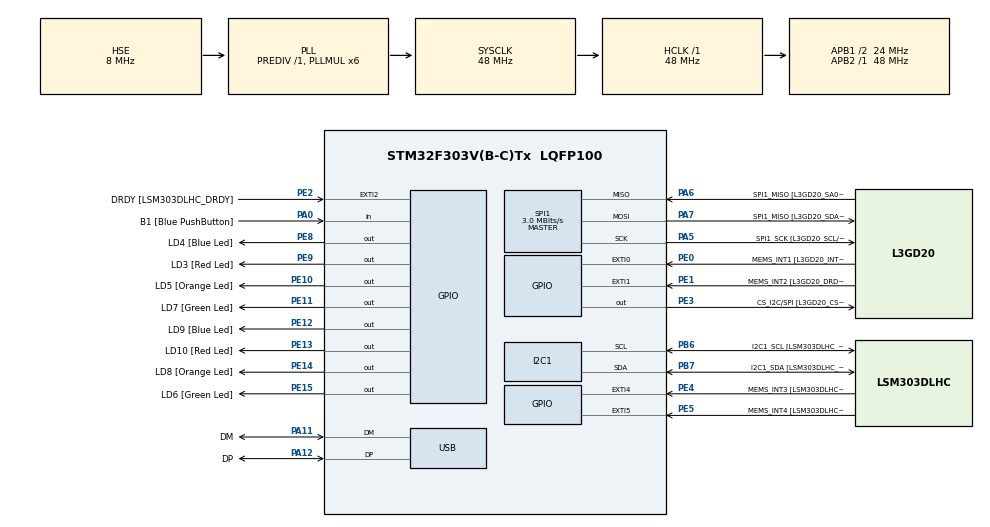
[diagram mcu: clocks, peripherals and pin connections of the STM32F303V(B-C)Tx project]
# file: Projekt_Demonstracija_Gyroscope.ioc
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I2C1.Timing-I2C=0x2000090E
Mcu.Family=STM32F3
Mcu.Name=STM32F303V(B-C)Tx
Mcu.Package=LQFP100
NVIC.PriorityGroup=NVIC_PRIORITYGROUP_0
NVIC.USB_LP_CAN_RX0_IRQn=true\:0\:0\:false\:false\:true\:false\:true
PA0.GPIO_Label=B1 [Blue PushButton]
PA0.Signal=GPIO_Input
PA11.GPIO_Label=DM
PA11.Mode=Device
PA11.Signal=USB_DM
PA12.GPIO_Label=DP
PA12.Mode=Device
PA12.Signal=USB_DP
PA13.GPIO_Label=SWDIO
PA13.Mode=Serial_Wire
PA13.Signal=SYS_JTMS-SWDIO
PA14.GPIO_Label=SWCLK
PA14.Mode=Serial_Wire
PA14.Signal=SYS_JTCK-SWCLK
PA5.GPIO_Label=SPI1_SCK [L3GD20_SCL/SPC]
PA5.Mode=Full_Duplex_Master
PA5.Signal=SPI1_SCK
PA6.GPIO_Label=SPI1_MISO [L3GD20_SA0/SDO]
PA6.Mode=Full_Duplex_Master
PA6.Signal=SPI1_MISO
PA7.GPIO_Label=SPI1_MISO [L3GD20_SDA/SDI/SDO]
PA7.Mode=Full_Duplex_Master
PA7.Signal=SPI1_MOSI
PB3.GPIO_Label=SWO
PB3.Signal=SYS_JTDO-TRACESWO
PB6.GPIO_Label=I2C1_SCL [LSM303DLHC_SCL]
PB6.Mode=I2C
PB6.Signal=I2C1_SCL
PB7.GPIO_Label=I2C1_SDA [LSM303DLHC_SDA]
PB7.Mode=I2C
PB7.Signal=I2C1_SDA
PC14-OSC32_IN.GPIO_Label=OSC32_IN
PC14-OSC32_IN.Signal=RCC_OSC32_IN
PC15-OSC32_OUT.GPIO_Label=OSC32_OUT
PC15-OSC32_OUT.Signal=RCC_OSC32_OUT
PE0.GPIO_Label=MEMS_INT1 [L3GD20_INT1]
PE0.GPIO_ModeDefaultEXTI=GPIO_MODE_EVT_RISING
PE0.Signal=GPXTI0
PE1.GPIO_Label=MEMS_INT2 [L3GD20_DRDY/INT2]
PE1.GPIO_ModeDefaultEXTI=GPIO_MODE_EVT_RISING
PE1.Signal=GPXTI1
PE10.GPIO_Label=LD5 [Orange Led]
PE10.Signal=GPIO_Output
PE11.GPIO_Label=LD7 [Green Led]
PE11.Signal=GPIO_Output
PE12.GPIO_Label=LD9 [Blue Led]
PE12.Signal=GPIO_Output
PE13.GPIO_Label=LD10 [Red Led]
PE13.Signal=GPIO_Output
PE14.GPIO_Label=LD8 [Orange Led]
PE14.Signal=GPIO_Output
PE15.GPIO_Label=LD6 [Green Led]
PE15.Signal=GPIO_Output
PE2.GPIO_Label=DRDY [LSM303DLHC_DRDY]
PE2.GPIO_ModeDefaultEXTI=GPIO_MODE_EVT_RISING
PE2.Signal=GPXTI2
PE3.GPIO_Label=CS_I2C/SPI [L3GD20_CS_I2C/SPI]
PE3.GPIO_Speed=GPIO_SPEED_FREQ_HIGH
PE3.Signal=GPIO_Output
PE4.GPIO_Label=MEMS_INT3 [LSM303DLHC_INT1]
PE4.GPIO_ModeDefaultEXTI=GPIO_MODE_EVT_RISING
PE4.Signal=GPXTI4
PE5.GPIO_Label=MEMS_INT4 [LSM303DLHC_INT2]
PE5.GPIO_ModeDefaultEXTI=GPIO_MODE_EVT_RISING
PE5.Signal=GPXTI5
PE8.GPIO_Label=LD4 [Blue Led]
PE8.Signal=GPIO_Output
PE9.GPIO_Label=LD3 [Red Led]
PE9.Signal=GPIO_Output
PF0-OSC_IN.GPIO_Label=OSC_IN
PF0-OSC_IN.Mode=HSE-External-Clock-Source
PF0-OSC_IN.Signal=RCC_OSC_IN
PF1-OSC_OUT.GPIO_Label=OSC_OUT
PF1-OSC_OUT.Signal=RCC_OSC_OUT
ProjectManager.HeapSize=0x200
ProjectManager.StackSize=0x400
ProjectManager.TargetToolchain=STM32CubeIDE
RCC.AHBFreq_Value=48000000
RCC.APB1CLKDivider=RCC_HCLK_DIV2
RCC.APB1Freq_Value=24000000
RCC.APB1TimFreq_Value=48000000
RCC.APB2Freq_Value=48000000
RCC.APB2TimFreq_Value=48000000
RCC.CortexFreq_Value=48000000
RCC.HCLKFreq_Value=48000000
RCC.HSE_VALUE=8000000
RCC.HSI_VALUE=8000000
RCC.LSE_VALUE=32768
RCC.PLLMUL=RCC_PLL_MUL6
RCC.SYSCLKFreq_VALUE=48000000
RCC.SYSCLKSourceVirtual=RCC_SYSCLKSOURCE_PLLCLK
RCC.USBFreq_Value=48000000
SPI1.BaudRatePrescaler=SPI_BAUDRATEPRESCALER_16
SPI1.BaudRatePrescaler-Full_Duplex_Master=SPI_BAUDRATEPRESCALER_2
SPI1.CLKPhase=SPI_PHASE_2EDGE
SPI1.CLKPolarity=SPI_POLARITY_HIGH
SPI1.CalculateBaudRate=3.0 MBits/s
SPI1.CalculateBaudRate-Full_Duplex_Master=24.0 MBits/s
SPI1.DataSize=SPI_DATASIZE_8BIT
SPI1.Direction=SPI_DIRECTION_2LINES
SPI1.Mode=SPI_MODE_MASTER
SPI1.Mode-Full_Duplex_Master=SPI_MODE_MASTER
SPI1.VirtualType=VM_MASTER
TIM3.Period=1000-1
TIM3.Prescaler=48-1
USB_DEVICE.CLASS_NAME_FS=CDC
USB_DEVICE.PRODUCT_STRING_CDC_FS=GyroScope
USB_DEVICE.VirtualMode=Cdc
USB_DEVICE.VirtualModeFS=Cdc_FS
VP_TIM3_VS_ClockSourceINT.Mode=Internal
VP_USB_DEVICE_VS_USB_DEVICE_CDC_FS.Mode=CDC_FS
board=STM32F3DISCOVERY

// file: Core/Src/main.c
/* USER CODE BEGIN Header */
/**
  ******************************************************************************
  * @file           : main.c
  * @brief          : Main program body
  ******************************************************************************
  * @attention
  *
  * <h2><center>&copy; Copyright (c) 2021 STMicroelectronics.
  * All rights reserved.</center></h2>
  *
  * This software component is licensed by ST under BSD 3-Clause license,
  * the "License"; You may not use this file except in compliance with the
  * License. You may obtain a copy of the License at:
  *                        opensource.org/licenses/BSD-3-Clause
  *
  ******************************************************************************
  */
/* USER CODE END Header */
#include "main.h"
#include "usb_device.h"

/* USER CODE BEGIN Includes */

#include "usbd_cdc_if.h"
#include "stdbool.h"

/* USER CODE END Includes */

I2C_HandleTypeDef hi2c1;

SPI_HandleTypeDef hspi1;

TIM_HandleTypeDef htim3;

void SystemClock_Config(void);
static void MX_GPIO_Init(void);
static void MX_I2C1_Init(void);
static void MX_SPI1_Init(void);
static void MX_TIM3_Init(void);
/* USER CODE BEGIN PFP */

#define SHAKE_LEVEL_1 5
#define SHAKE_LEVEL_2 10
#define SHAKE_LEVEL_3 20
#define SHAKE_LEVEL_4 30

#define CONDITION_ROAD_PERFECT 10
#define CONDITION_ROAD_GOOD 50
#define CONDITION_ROAD_BAD 100

/* USER CODE END PFP */

/* USER CODE BEGIN 0 */

// Pavza, s katero omogocimo pravilno delovanje avtomatskega testa
void pavza(){
  uint32_t counter = 0;
  for(counter=0; counter<600; counter++){
    asm("nop");
  }
}

uint8_t spi1_beriRegister(uint8_t reg)
{
  uint16_t buf_out, buf_in;
  reg |= 0x80; // najpomembnejsi bit na 1
  buf_out = reg; // little endian, se postavi na pravo mesto ....
  HAL_GPIO_WritePin(GPIOE, GPIO_PIN_3, GPIO_PIN_RESET);
  pavza();
  //HAL_SPI_TransmitReceive(&hspi1, (uint8_t*)&buf_out, (uint8_t*)&buf_in, 2, 2); // blocking posiljanje ....
  HAL_SPI_TransmitReceive(&hspi1, &((uint8_t*)&buf_out)[0], &((uint8_t*)&buf_in)[0], 1, 2); // razbito na dva dela, da se podaljsa cas in omogoci pravilno delovanje testa
  pavza();
  HAL_SPI_TransmitReceive(&hspi1, &((uint8_t*)&buf_out)[1], &((uint8_t*)&buf_in)[1], 1, 2); // razbito na dva dela, da se podaljsa cas in omogoci pravilno delovanje testa
  HAL_GPIO_WritePin(GPIOE, GPIO_PIN_3, GPIO_PIN_SET);
  pavza();
  return buf_in >> 8; // little endian...
}

void spi1_pisiRegister(uint8_t reg, uint8_t vrednost)
{
  uint16_t buf_out;
  buf_out = reg | (vrednost<<8); // little endian, se postavi na pravo mesto ....
  HAL_GPIO_WritePin(GPIOE, GPIO_PIN_3, GPIO_PIN_RESET);
  pavza();
  //HAL_SPI_Transmit(&hspi1, (uint8_t*)&buf_out, 2, 2); // blocking posiljanje ....
  HAL_SPI_Transmit(&hspi1, &((uint8_t*)&buf_out)[0], 1, 2); // razbito na dva dela, da se podaljsa cas in omogoci pravilno delovanje testa
  pavza();
  HAL_SPI_Transmit(&hspi1, &((uint8_t*)&buf_out)[1], 1, 2); // razbito na dva dela, da se podaljsa cas in omogoci pravilno delovanje testa
  HAL_GPIO_WritePin(GPIOE, GPIO_PIN_3, GPIO_PIN_SET);
  pavza();
}

void spi1_beriRegistre(uint8_t reg, uint8_t* buffer, uint8_t velikost)
{
  reg |= 0xC0; // najpomembnejsa bita na 1
  HAL_GPIO_WritePin(GPIOE, GPIO_PIN_3, GPIO_PIN_RESET);
  pavza();
  HAL_SPI_Transmit(&hspi1, &reg, 1, 10); // blocking posiljanje....
  pavza();
  HAL_SPI_Receive(&hspi1,  buffer, velikost, velikost); // blocking posiljanje....
  HAL_GPIO_WritePin(GPIOE, GPIO_PIN_3, GPIO_PIN_SET);
  pavza();
}

void initL3GD20()
{
  // preverimo ali smo "poklicali" pravi senzor
  uint8_t cip = spi1_beriRegister(0x0F);
  if (cip != 0xD4 && cip != 0xD3)
    for (;;);

  spi1_pisiRegister(0x20, 0x0F);// zbudi ziroskop in omogoci osi
}

/* USER CODE END 0 */

int main(void)
{

  /* MCU Configuration--------------------------------------------------------*/

  /* Reset of all peripherals, Initializes the Flash interface and the Systick. */
  HAL_Init();

  /* Configure the system clock */
  SystemClock_Config();

  /* Initialize all configured peripherals */
  MX_GPIO_Init();
  MX_I2C1_Init();
  MX_SPI1_Init();
  MX_USB_DEVICE_Init();
  MX_TIM3_Init();
  /* USER CODE BEGIN 2 */

  // SPI
  __HAL_SPI_ENABLE(&hspi1);
  HAL_GPIO_WritePin(GPIOE, GPIO_PIN_3, GPIO_PIN_SET); // CS postavimo na 1

  // Timer
  HAL_TIM_Base_Start(&htim3);

  initL3GD20();

  spi1_pisiRegister(0x20, 0x7F); // CTRL_REG1  01111111
  spi1_pisiRegister(0x23, 0x10); // CTRL_REG4  00010000

  int counterPress=0;
  bool isPressed=true;

  unsigned int counterofPacket = 0;
  char descriptionHole[30];
  char descriptionRoad[30];
  unsigned int counterHoles = 0;
  unsigned int roadCondition = 0;
  int16_t asciiPacket[3]={0};
  uint32_t timerValueMS;
  /* USER CODE END 2 */

  /* Infinite loop */
  /* USER CODE BEGIN WHILE */
  while (1)
  {
	  if (HAL_GPIO_ReadPin(GPIOA, GPIO_PIN_0) && isPressed) {
		  if (counterPress==0) {
			  counterPress=1;
			  timerValueMS = HAL_GetTick();
		  }
		  else if (counterPress==1) {
			  counterPress=2;
		  }
		  isPressed=false;
	  }
	  if (!HAL_GPIO_ReadPin(GPIOA, GPIO_PIN_0)) {
		  if (counterPress==1) {
			  double previousX=asciiPacket[0]*0.0175, previousY=asciiPacket[1]*0.0175, previousZ=asciiPacket[2]*0.0175;
			  counterofPacket++;

			  spi1_beriRegistre(0x28, (uint8_t*)&asciiPacket[0], 8); 					// os X low
			  spi1_beriRegistre(0x2A, (uint8_t*)&asciiPacket[1], 8);					// os Y low
			  spi1_beriRegistre(0x2C, (uint8_t*)&asciiPacket[2], 8);					// os Z low

			  double currentX=asciiPacket[0]*0.0175, currentY=asciiPacket[1]*0.0175, currentZ=asciiPacket[2]*0.0175;

			  double shakingPower = sqrt(pow(previousX - currentX, 2) + pow(previousY - currentY, 2) + pow(previousZ - currentZ, 2));

			  uint32_t now = HAL_GetTick();
			  if (now-timerValueMS >= 150) {
				  if (shakingPower < SHAKE_LEVEL_1) {
					  sprintf(descriptionHole, "ni zaznana");
				  }
				  else if (shakingPower < SHAKE_LEVEL_2) {
					  sprintf(descriptionHole, "zelo majhna");
					  roadCondition +=1;
					  ++counterHoles;
				  }
				  else if (shakingPower < SHAKE_LEVEL_3) {
					  sprintf(descriptionHole, "majhna luknja");
					  roadCondition +=2;
					  ++counterHoles;
				  }
				  else if (shakingPower < SHAKE_LEVEL_4) {
					  sprintf(descriptionHole, "velika");
					  roadCondition +=4;
					  ++counterHoles;
				  }
				  else if (shakingPower > SHAKE_LEVEL_4) {
					  sprintf(descriptionHole, "zelo velika");
					  roadCondition +=8;
					  ++counterHoles;
				  }

				  char string[100];
				  sprintf(string, "{\"GYR\":%d, \"X\":%.3f, \"Y\":%.3f, \"Z\":%.3f, \"Tip luknje\":%s}\n\r",
						  counterofPacket, currentX, currentY, currentZ, descriptionHole);
				  while(CDC_Transmit_FS(&string, strlen(string)));
				  if (now >= timerValueMS+500*10) {
					  HAL_GPIO_WritePin(GPIOE, GPIO_PIN_8, GPIO_PIN_RESET);
					  HAL_GPIO_WritePin(GPIOE, GPIO_PIN_9, GPIO_PIN_RESET);
					  HAL_GPIO_WritePin(GPIOE, GPIO_PIN_10, GPIO_PIN_RESET);
					  HAL_GPIO_WritePin(GPIOE, GPIO_PIN_11, GPIO_PIN_RESET);
					  HAL_GPIO_WritePin(GPIOE, GPIO_PIN_12, GPIO_PIN_RESET);
					  HAL_GPIO_WritePin(GPIOE, GPIO_PIN_13, GPIO_PIN_RESET);
					  HAL_GPIO_WritePin(GPIOE, GPIO_PIN_14, GPIO_PIN_RESET);
					  HAL_GPIO_WritePin(GPIOE, GPIO_PIN_15, GPIO_PIN_RESET);
					  uint32_t value = 256;
					  if (roadCondition < CONDITION_ROAD_PERFECT) {
						  sprintf(descriptionRoad, "super");
						  GPIOE->BSRR = value<<3;
						  GPIOE->BSRR = value<<7;
					  }
					  else if (roadCondition < CONDITION_ROAD_GOOD) {
						  sprintf(descriptionRoad, "dobro");
						  GPIOE->BSRR = value<<0;
						  GPIOE->BSRR = value<<4;
					  }
					  else if (roadCondition < CONDITION_ROAD_BAD) {
						  sprintf(descriptionRoad, "slabo");
						  GPIOE->BSRR = value<<2;
						  GPIOE->BSRR = value<<6;
					  }
					  else if (roadCondition > CONDITION_ROAD_BAD) {
						  sprintf(descriptionRoad, "zelo slabo");
						  GPIOE->BSRR = value<<1;
						  GPIOE->BSRR = value<<5;
					  }

					  char report[100];
					  sprintf(report, "{\"Stevilo luknji\":%d, \"Stanje\":%s}\n\r",
							  counterHoles, descriptionRoad);
					  while(CDC_Transmit_FS(&report, strlen(report)));
					  TIM3->CNT = 0;
					  counterHoles = 0;
					  roadCondition = 0;
					  timerValueMS = HAL_GetTick();
				  }
			  }
			  //pocakajmo trenutek
			  HAL_Delay(100);
		  }
		  else if (counterPress==2) {
			  counterPress=0;
		  }
		  isPressed=true;
	  }

    /* USER CODE END WHILE */

  }
}

void SystemClock_Config(void)
{
  RCC_OscInitTypeDef RCC_OscInitStruct = {0};
  RCC_ClkInitTypeDef RCC_ClkInitStruct = {0};
  RCC_PeriphCLKInitTypeDef PeriphClkInit = {0};

  /** Initializes the RCC Oscillators according to the specified parameters
  * in the RCC_OscInitTypeDef structure.
  */
  RCC_OscInitStruct.OscillatorType = RCC_OSCILLATORTYPE_HSI|RCC_OSCILLATORTYPE_HSE;
  RCC_OscInitStruct.HSEState = RCC_HSE_BYPASS;
  RCC_OscInitStruct.HSEPredivValue = RCC_HSE_PREDIV_DIV1;
  RCC_OscInitStruct.HSIState = RCC_HSI_ON;
  RCC_OscInitStruct.HSICalibrationValue = RCC_HSICALIBRATION_DEFAULT;
  RCC_OscInitStruct.PLL.PLLState = RCC_PLL_ON;
  RCC_OscInitStruct.PLL.PLLSource = RCC_PLLSOURCE_HSE;
  RCC_OscInitStruct.PLL.PLLMUL = RCC_PLL_MUL6;
  if (HAL_RCC_OscConfig(&RCC_OscInitStruct) != HAL_OK)
  {
    Error_Handler();
  }
  /** Initializes the CPU, AHB and APB buses clocks
  */
  RCC_ClkInitStruct.ClockType = RCC_CLOCKTYPE_HCLK|RCC_CLOCKTYPE_SYSCLK
                              |RCC_CLOCKTYPE_PCLK1|RCC_CLOCKTYPE_PCLK2;
  RCC_ClkInitStruct.SYSCLKSource = RCC_SYSCLKSOURCE_PLLCLK;
  RCC_ClkInitStruct.AHBCLKDivider = RCC_SYSCLK_DIV1;
  RCC_ClkInitStruct.APB1CLKDivider = RCC_HCLK_DIV2;
  RCC_ClkInitStruct.APB2CLKDivider = RCC_HCLK_DIV1;

  if (HAL_RCC_ClockConfig(&RCC_ClkInitStruct, FLASH_LATENCY_1) != HAL_OK)
  {
    Error_Handler();
  }
  PeriphClkInit.PeriphClockSelection = RCC_PERIPHCLK_USB|RCC_PERIPHCLK_I2C1;
  PeriphClkInit.I2c1ClockSelection = RCC_I2C1CLKSOURCE_HSI;
  PeriphClkInit.USBClockSelection = RCC_USBCLKSOURCE_PLL;
  if (HAL_RCCEx_PeriphCLKConfig(&PeriphClkInit) != HAL_OK)
  {
    Error_Handler();
  }
}

static void MX_I2C1_Init(void)
{

  hi2c1.Instance = I2C1;
  hi2c1.Init.Timing = 0x2000090E;
  hi2c1.Init.OwnAddress1 = 0;
  hi2c1.Init.AddressingMode = I2C_ADDRESSINGMODE_7BIT;
  hi2c1.Init.DualAddressMode = I2C_DUALADDRESS_DISABLE;
  hi2c1.Init.OwnAddress2 = 0;
  hi2c1.Init.OwnAddress2Masks = I2C_OA2_NOMASK;
  hi2c1.Init.GeneralCallMode = I2C_GENERALCALL_DISABLE;
  hi2c1.Init.NoStretchMode = I2C_NOSTRETCH_DISABLE;
  if (HAL_I2C_Init(&hi2c1) != HAL_OK)
  {
    Error_Handler();
  }
  /** Configure Analogue filter
  */
  if (HAL_I2CEx_ConfigAnalogFilter(&hi2c1, I2C_ANALOGFILTER_ENABLE) != HAL_OK)
  {
    Error_Handler();
  }
  /** Configure Digital filter
  */
  if (HAL_I2CEx_ConfigDigitalFilter(&hi2c1, 0) != HAL_OK)
  {
    Error_Handler();
  }

}

static void MX_SPI1_Init(void)
{

  /* SPI1 parameter configuration*/
  hspi1.Instance = SPI1;
  hspi1.Init.Mode = SPI_MODE_MASTER;
  hspi1.Init.Direction = SPI_DIRECTION_2LINES;
  hspi1.Init.DataSize = SPI_DATASIZE_8BIT;
  hspi1.Init.CLKPolarity = SPI_POLARITY_HIGH;
  hspi1.Init.CLKPhase = SPI_PHASE_2EDGE;
  hspi1.Init.NSS = SPI_NSS_SOFT;
  hspi1.Init.BaudRatePrescaler = SPI_BAUDRATEPRESCALER_16;
  hspi1.Init.FirstBit = SPI_FIRSTBIT_MSB;
  hspi1.Init.TIMode = SPI_TIMODE_DISABLE;
  hspi1.Init.CRCCalculation = SPI_CRCCALCULATION_DISABLE;
  hspi1.Init.CRCPolynomial = 7;
  hspi1.Init.CRCLength = SPI_CRC_LENGTH_DATASIZE;
  hspi1.Init.NSSPMode = SPI_NSS_PULSE_DISABLE;
  if (HAL_SPI_Init(&hspi1) != HAL_OK)
  {
    Error_Handler();
  }

}

static void MX_TIM3_Init(void)
{

  TIM_ClockConfigTypeDef sClockSourceConfig = {0};
  TIM_MasterConfigTypeDef sMasterConfig = {0};

  htim3.Instance = TIM3;
  htim3.Init.Prescaler = 48-1;
  htim3.Init.CounterMode = TIM_COUNTERMODE_UP;
  htim3.Init.Period = 1000-1;
  htim3.Init.ClockDivision = TIM_CLOCKDIVISION_DIV1;
  htim3.Init.AutoReloadPreload = TIM_AUTORELOAD_PRELOAD_DISABLE;
  if (HAL_TIM_Base_Init(&htim3) != HAL_OK)
  {
    Error_Handler();
  }
  sClockSourceConfig.ClockSource = TIM_CLOCKSOURCE_INTERNAL;
  if (HAL_TIM_ConfigClockSource(&htim3, &sClockSourceConfig) != HAL_OK)
  {
    Error_Handler();
  }
  sMasterConfig.MasterOutputTrigger = TIM_TRGO_RESET;
  sMasterConfig.MasterSlaveMode = TIM_MASTERSLAVEMODE_DISABLE;
  if (HAL_TIMEx_MasterConfigSynchronization(&htim3, &sMasterConfig) != HAL_OK)
  {
    Error_Handler();
  }

}

static void MX_GPIO_Init(void)
{
  GPIO_InitTypeDef GPIO_InitStruct = {0};

  /* GPIO Ports Clock Enable */
  __HAL_RCC_GPIOE_CLK_ENABLE();
  __HAL_RCC_GPIOC_CLK_ENABLE();
  __HAL_RCC_GPIOF_CLK_ENABLE();
  __HAL_RCC_GPIOA_CLK_ENABLE();
  __HAL_RCC_GPIOB_CLK_ENABLE();

  /*Configure GPIO pin Output Level */
  HAL_GPIO_WritePin(GPIOE, CS_I2C_SPI_Pin|LD4_Pin|LD3_Pin|LD5_Pin
                          |LD7_Pin|LD9_Pin|LD10_Pin|LD8_Pin
                          |LD6_Pin, GPIO_PIN_RESET);

  /*Configure GPIO pins : DRDY_Pin MEMS_INT3_Pin MEMS_INT4_Pin MEMS_INT1_Pin
                           MEMS_INT2_Pin */
  GPIO_InitStruct.Pin = DRDY_Pin|MEMS_INT3_Pin|MEMS_INT4_Pin|MEMS_INT1_Pin
                          |MEMS_INT2_Pin;
  GPIO_InitStruct.Mode = GPIO_MODE_EVT_RISING;
  GPIO_InitStruct.Pull = GPIO_NOPULL;
  HAL_GPIO_Init(GPIOE, &GPIO_InitStruct);

  /*Configure GPIO pin : CS_I2C_SPI_Pin */
  GPIO_InitStruct.Pin = CS_I2C_SPI_Pin;
  GPIO_InitStruct.Mode = GPIO_MODE_OUTPUT_PP;
  GPIO_InitStruct.Pull = GPIO_NOPULL;
  GPIO_InitStruct.Speed = GPIO_SPEED_FREQ_HIGH;
  HAL_GPIO_Init(CS_I2C_SPI_GPIO_Port, &GPIO_InitStruct);

  /*Configure GPIO pin : B1_Pin */
  GPIO_InitStruct.Pin = B1_Pin;
  GPIO_InitStruct.Mode = GPIO_MODE_INPUT;
  GPIO_InitStruct.Pull = GPIO_NOPULL;
  HAL_GPIO_Init(B1_GPIO_Port, &GPIO_InitStruct);

  /*Configure GPIO pins : LD4_Pin LD3_Pin LD5_Pin LD7_Pin
                           LD9_Pin LD10_Pin LD8_Pin LD6_Pin */
  GPIO_InitStruct.Pin = LD4_Pin|LD3_Pin|LD5_Pin|LD7_Pin
                          |LD9_Pin|LD10_Pin|LD8_Pin|LD6_Pin;
  GPIO_InitStruct.Mode = GPIO_MODE_OUTPUT_PP;
  GPIO_InitStruct.Pull = GPIO_NOPULL;
  GPIO_InitStruct.Speed = GPIO_SPEED_FREQ_LOW;
  HAL_GPIO_Init(GPIOE, &GPIO_InitStruct);

}

void Error_Handler(void)
{
  __disable_irq();
  while (1)
  {
  }
}

/************************ (C) COPYRIGHT STMicroelectronics *****END OF FILE****/
